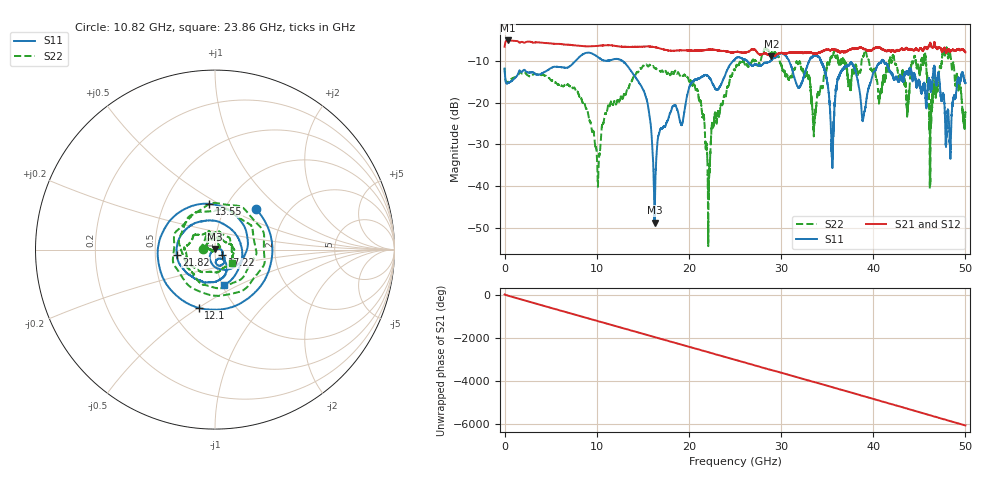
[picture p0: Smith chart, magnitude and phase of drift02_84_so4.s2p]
!Created with skrf (http://scikit-rf.org).
# Hz S RI R 50.0
!freq ReS11 ImS11 ReS21 ImS21 ReS12 ImS12 ReS22 ImS22
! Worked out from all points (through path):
!   10001 points, 300 kHz to 50 GHz, reference 50 ohm
!   highest |S21| = -5.03 dB at 325.3 MHz (marker M1); lowest = -8.9 dB at 28.96 GHz (marker M2)
!   group delay of S21, straight-line fit = 336 ps
!   lowest |S11| = -48.7 dB at 16.27 GHz (marker M3), VSWR 1.01, Z = 49.9 + j0.349 ohm
!   |S11| at or under -10 dB: start of sweep to 7.668 GHz; 12.81 GHz to 24.78 GHz (11.97 GHz wide, 63.7 % of centre); 41.14 GHz to end of sweep (the widest 3 of 10)
!   |S22| runs from -54.4 to -6.7 dB; largest |S21 - S12| = 0.028
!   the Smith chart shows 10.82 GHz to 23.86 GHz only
!   S11 on the Smith chart (normalised r, x): 10.82 GHz: 1.39, +0.70; 12.1 GHz: 0.68, -0.50; 13.55 GHz: 0.83, +0.45; 17.22 GHz: 1.08, -0.07; 21.82 GHz: 0.65, -0.04; 23.86 GHz: 1.01, -0.42
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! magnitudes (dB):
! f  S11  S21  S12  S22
! 300 kHz  -11.8  -6.5  -6.5  -11.7
! 325.3 MHz  -15.3  -5.0  -5.0  -15.1
! 8.335 GHz  -8.6  -6.4  -6.4  -19.1
! 10.11 GHz  -9.0  -6.3  -6.3  -38.8
! 10.82 GHz  -9.8  -6.2  -6.2  -23.7
! 12.1 GHz  -9.5  -6.4  -6.4  -20.3
! 13.55 GHz  -11.8  -6.6  -6.6  -15.8
! 16.27 GHz  -48.7  -6.6  -6.6  -11.7
! 16.67 GHz  -28.0  -6.8  -6.8  -12.1
! 17.22 GHz  -25.7  -7.1  -7.1  -12.7
! 21.82 GHz  -13.3  -7.3  -7.3  -30.9
! 23.86 GHz  -13.7  -7.6  -7.5  -18.2
! 25 GHz  -9.5  -7.8  -7.8  -12.0
! 28.96 GHz  -9.8  -8.9  -8.8  -8.0
! 33.34 GHz  -9.1  -8.0  -8.0  -20.0
! 35.55 GHz  -30.3  -7.1  -7.2  -9.1
! 36.8 GHz  -11.8  -7.8  -7.7  -10.1
! 41.67 GHz  -11.9  -7.4  -7.4  -12.3
! 45.5 GHz  -15.2  -6.9  -6.9  -9.8
! 46.25 GHz  -16.5  -6.1  -6.1  -26.0
! 48.12 GHz  -22.0  -7.1  -7.1  -9.1
! 50 GHz  -15.2  -7.8  -7.9  -22.7
